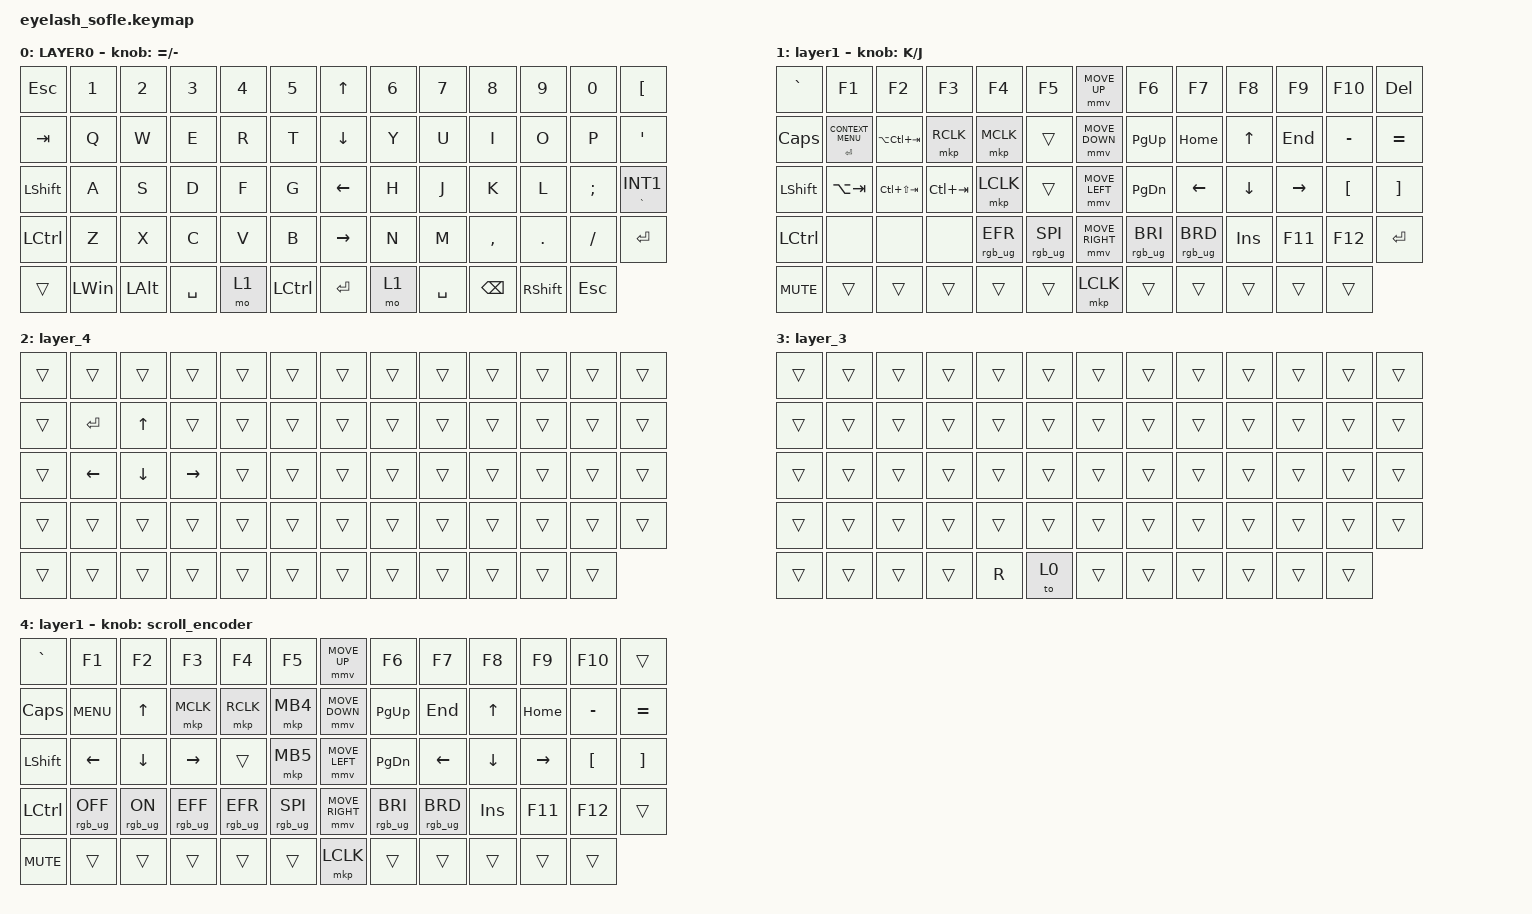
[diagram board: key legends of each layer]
#define ZMK_POINTING_DEFAULT_MOVE_VAL 1200  // 600
#define ZMK_POINTING_DEFAULT_SCRL_VAL 25   // 10

#include <input/processors.dtsi>
#include <zephyr/dt-bindings/input/input-event-codes.h>
#include <behaviors.dtsi>
#include <dt-bindings/zmk/keys.h>
#include <dt-bindings/zmk/pointing.h>
#include <dt-bindings/zmk/rgb.h>

&mmv_input_listener { input-processors = <&zip_xy_scaler 2 1>; };

&msc_input_listener { input-processors = <&zip_scroll_scaler 2 1>; };

&msc {
    acceleration-exponent = <1>;      // 0
    time-to-max-speed-ms = <100>;       // 300
    delay-ms = <0>;                   // 0
};

&mmv {
    time-to-max-speed-ms = <500>;
    acceleration-exponent = <1>;
    trigger-period-ms = <16>;
};

/ {
    scroll_encoder: scroll_encoder {
        compatible = "zmk,behavior-sensor-rotate";
        #sensor-binding-cells = <0>;
        bindings = <&msc SCRL_DOWN>, <&msc SCRL_UP>;

        tap-ms = <100>;
    };

    behaviors {
    };

    macros {
        gn: gb {
            compatible = "zmk,behavior-macro";
            #binding-cells = <0>;
            bindings = <&kp G &kp N>;
            label = "GB";
        };

        gh: gh {
            compatible = "zmk,behavior-macro";
            #binding-cells = <0>;
            bindings = <&kp G &kp H>;
            label = "GH";
        };

        bd: bd {
            compatible = "zmk,behavior-macro";
            #binding-cells = <0>;
            bindings = <&kp B &kp D>;
            label = "BD";
        };
    };

    combos {
        compatible = "zmk,combos";

        db {
            bindings = <&to 3>;
            key-positions = <54 53>;
        };

        tog1 {
            bindings = <&tog 1>;
            key-positions = <60 56>;
        };

        gotogh {
            bindings = <&gh>;
            key-positions = <53 55>;
        };

        dsa {
            bindings = <&tog 2>;
            key-positions = <56 39>;
        };
    };

    keymap {
        compatible = "zmk,keymap";

        layer0 {
            bindings = <
&kp ESC         &kp N1        &kp N2        &kp NUMBER_3  &kp N4  &kp N5       &kp UP_ARROW     &kp N6  &kp N7     &kp N8     &kp N9           &kp N0    &kp LBKT
&kp TAB         &kp Q         &kp W         &kp E         &kp R   &kp T        &kp DOWN_ARROW   &kp Y   &kp U      &kp I      &kp O            &kp P     &kp APOS
&kp LEFT_SHIFT  &kp A         &kp S         &kp D         &kp F   &kp G        &kp LEFT_ARROW   &kp H   &kp J      &kp K      &kp L            &kp SEMI  &mt GRAVE INT1
&kp LCTRL       &kp Z         &kp X         &kp C         &kp V   &kp B        &kp RIGHT_ARROW  &kp N   &kp M      &kp COMMA  &kp DOT          &kp FSLH  &kp ENTER
&trans          &kp LEFT_WIN  &kp LEFT_ALT  &kp SPACE     &mo 1   &kp LCTRL    &kp ENTER        &mo 1   &kp SPACE  &kp BSPC   &kp RIGHT_SHIFT  &kp ESC
            >;

            sensor-bindings = <&inc_dec_kp EQUAL MINUS>;
            display-name = "LAYER0";
        };

        layer_1 {
            bindings = <
&kp GRAVE   &kp F1                    &kp F2           &kp F3       &kp F4           &kp F5             &mmv MOVE_UP     &kp F6           &kp F7           &kp F8      &kp F9     &kp F10           &kp DEL
&kp CAPS    &mt ENTER K_CONTEXT_MENU  &kp LA(LC(TAB))  &mkp RCLK    &mkp MCLK        &trans             &mmv MOVE_DOWN   &kp PG_UP        &kp HOME         &kp UP      &kp END    &kp MINUS         &kp EQUAL
&kp LSHFT   &kp LA(TAB)               &kp LC(LS(TAB))  &kp LC(TAB)  &mkp LCLK        &trans             &mmv MOVE_LEFT   &kp PG_DN        &kp LEFT         &kp DOWN    &kp RIGHT  &kp LEFT_BRACKET  &kp RIGHT_BRACKET
&kp LCTRL   &none                     &none            &none        &rgb_ug RGB_EFR  &rgb_ug RGB_SPI    &mmv MOVE_RIGHT  &rgb_ug RGB_BRI  &rgb_ug RGB_BRD  &kp INSERT  &kp F11    &kp F12           &kp ENTER
&kp C_MUTE  &trans                    &trans           &trans       &trans           &trans             &mkp LCLK        &trans           &trans           &trans      &trans     &trans
            >;

            display-name = "layer1";
            sensor-bindings = <&inc_dec_kp K J>;
        };

        layer_4 {
            bindings = <
&trans  &trans     &trans    &trans     &trans  &trans    &trans  &trans  &trans  &trans  &trans  &trans  &trans
&trans  &kp ENTER  &kp UP    &trans     &trans  &trans    &trans  &trans  &trans  &trans  &trans  &trans  &trans
&trans  &kp LEFT   &kp DOWN  &kp RIGHT  &trans  &trans    &trans  &trans  &trans  &trans  &trans  &trans  &trans
&trans  &trans     &trans    &trans     &trans  &trans    &trans  &trans  &trans  &trans  &trans  &trans  &trans
&trans  &trans     &trans    &trans     &trans  &trans    &trans  &trans  &trans  &trans  &trans  &trans
            >;
        };

        layer_3 {
            bindings = <
&trans  &trans  &trans  &trans  &trans  &trans    &trans  &trans  &trans  &trans  &trans  &trans  &trans
&trans  &trans  &trans  &trans  &trans  &trans    &trans  &trans  &trans  &trans  &trans  &trans  &trans
&trans  &trans  &trans  &trans  &trans  &trans    &trans  &trans  &trans  &trans  &trans  &trans  &trans
&trans  &trans  &trans  &trans  &trans  &trans    &trans  &trans  &trans  &trans  &trans  &trans  &trans
&trans  &trans  &trans  &trans  &kp R   &to 0     &trans  &trans  &trans  &trans  &trans  &trans
            >;
        };

        layer_3qwe {
            display-name = "layer1";
            bindings = <
&kp GRAVE   &kp F1           &kp F2          &kp F3           &kp F4           &kp F5             &mmv MOVE_UP     &kp F6           &kp F7           &kp F8      &kp F9     &kp F10           &trans
&kp CAPS    &kp C_MENU       &kp UP_ARROW    &mkp MCLK        &mkp RCLK        &mkp MB4           &mmv MOVE_DOWN   &kp PG_UP        &kp END          &kp UP      &kp HOME   &kp MINUS         &kp EQUAL
&kp LSHFT   &kp LEFT_ARROW   &kp DOWN_ARROW  &kp RIGHT_ARROW  &trans           &mkp MB5           &mmv MOVE_LEFT   &kp PG_DN        &kp LEFT         &kp DOWN    &kp RIGHT  &kp LEFT_BRACKET  &kp RIGHT_BRACKET
&kp LCTRL   &rgb_ug RGB_OFF  &rgb_ug RGB_ON  &rgb_ug RGB_EFF  &rgb_ug RGB_EFR  &rgb_ug RGB_SPI    &mmv MOVE_RIGHT  &rgb_ug RGB_BRI  &rgb_ug RGB_BRD  &kp INSERT  &kp F11    &kp F12           &trans
&kp C_MUTE  &trans           &trans          &trans           &trans           &trans             &mkp LCLK        &trans           &trans           &trans      &trans     &trans
            >;

            sensor-bindings = <&scroll_encoder>;
        };
    };
};
